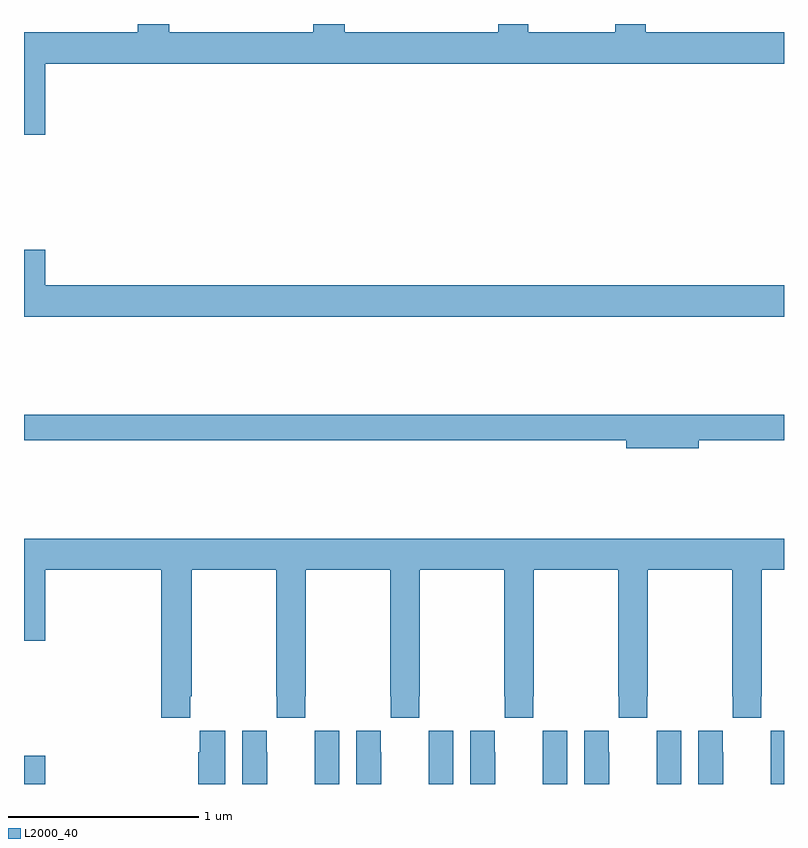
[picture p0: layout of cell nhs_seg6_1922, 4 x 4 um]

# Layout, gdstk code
import gdstk
lib = gdstk.Library(unit=1e-6, precision=1e-09)
def R(c, l, rs):  # rectangles x0, y0, x1, y1
    for r in rs: c.add(gdstk.rectangle(r[:2], r[2:], *l))
def P(c, l, *ps):  # polygons
    for p in ps: c.add(gdstk.Polygon(p, *l))
L2000_40 = (2000, 40)

nhs_seg6_1922 = lib.new_cell('nhs_seg6_1922')
R(nhs_seg6_1922, L2000_40, [(225,987.5,225.112,987.649)])
P(nhs_seg6_1922, L2000_40, [(225.112,991.292),(229,991.292),(229,991.456),(228.272,991.456),(228.272,991.5),(228.112,991.5),(228.112,991.456),(227.655,991.456),(227.655,991.5),(227.495,991.5),(227.495,991.456),(226.688,991.456),(226.688,991.5),(226.523,991.5),(226.523,991.456),(225.764,991.456),(225.764,991.5),(225.599,991.5),(225.599,991.456),(225,991.456),(225,990.918),(225.112,990.918)],
  [(229,990.124),(225.112,990.124),(225.112,990.313),(225,990.313),(225,989.96),(229,989.96)],
  [(228.55,989.308),(229,989.308),(229,989.444),(225,989.444),(225,989.308),(228.17,989.308),(228.17,989.266),(228.55,989.266)],
  [(225,988.254),(225.112,988.254),(225.112,988.628),(225.722,988.628),(225.722,987.849),(225.875,987.849),(225.875,987.961),(225.882,987.961),(225.882,988.628),(226.327,988.628),(226.327,987.961),(226.329,987.961),(226.329,987.849),(226.479,987.849),(226.479,987.961),(226.482,987.961),(226.482,988.628),(226.927,988.628),(226.927,987.961),(226.929,987.961),(226.929,987.849),(227.079,987.849),(227.079,987.961),(227.082,987.961),(227.082,988.628),(227.527,988.628),(227.527,987.961),(227.529,987.961),(227.529,987.849),(227.679,987.849),(227.679,987.961),(227.682,987.961),(227.682,988.628),(228.127,988.628),(228.127,987.961),(228.129,987.961),(228.129,987.849),(228.279,987.849),(228.279,987.961),(228.282,987.961),(228.282,988.628),(228.727,988.628),(228.727,987.961),(228.729,987.961),(228.729,987.849),(228.879,987.849),(228.879,987.961),(228.882,987.961),(228.882,988.628),(229,988.628),(229,988.792),(225,988.792)],
  [(227.86,987.781),(227.73,987.781),(227.73,987.668),(227.729,987.668),(227.729,987.5),(227.86,987.5)],
  [(228.079,987.668),(228.078,987.668),(228.078,987.781),(227.948,987.781),(227.948,987.5),(228.079,987.5)],
  [(228.46,987.781),(228.33,987.781),(228.33,987.668),(228.329,987.668),(228.329,987.5),(228.46,987.5)],
  [(228.679,987.668),(228.678,987.668),(228.678,987.781),(228.548,987.781),(228.548,987.5),(228.679,987.5)],
  [(229,987.781),(228.93,987.781),(228.93,987.668),(228.929,987.668),(228.929,987.5),(229,987.5)],
  [(227.479,987.668),(227.478,987.668),(227.478,987.781),(227.348,987.781),(227.348,987.5),(227.479,987.5)],
  [(227.26,987.781),(227.13,987.781),(227.13,987.668),(227.129,987.668),(227.129,987.5),(227.26,987.5)],
  [(226.879,987.668),(226.878,987.668),(226.878,987.781),(226.748,987.781),(226.748,987.5),(226.879,987.5)],
  [(226.66,987.781),(226.53,987.781),(226.53,987.668),(226.529,987.668),(226.529,987.5),(226.66,987.5)],
  [(226.279,987.668),(226.278,987.668),(226.278,987.781),(226.148,987.781),(226.148,987.5),(226.279,987.5)],
  [(226.06,987.781),(225.926,987.781),(225.926,987.668),(225.917,987.668),(225.917,987.5),(226.06,987.5)])

lib.write_gds('nhs_seg6_1922.gds')
